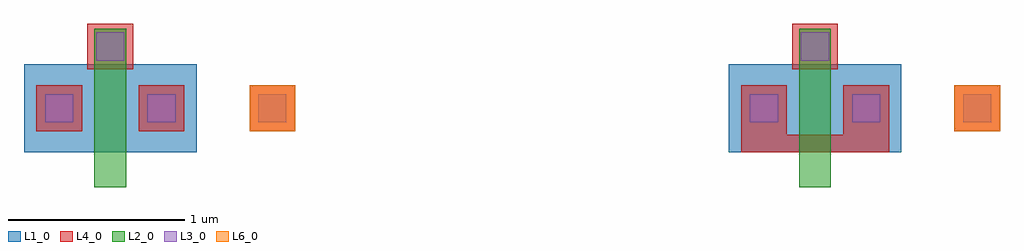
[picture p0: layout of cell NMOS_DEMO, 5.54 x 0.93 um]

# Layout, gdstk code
import gdstk
lib = gdstk.Library(unit=1e-6, precision=1e-09)
def R(c, l, rs):  # rectangles x0, y0, x1, y1
    for r in rs: c.add(gdstk.rectangle(r[:2], r[2:], *l))
L1_0 = (1, 0)
L2_0 = (2, 0)
L3_0 = (3, 0)
L4_0 = (4, 0)
L6_0 = (6, 0)

nmos_good = lib.new_cell('NMOS_GOOD')
R(nmos_good, L1_0, [(0,0,0.98,0.5)])
R(nmos_good, L2_0, [(0.4,-0.2,0.58,0.7)])
R(nmos_good, L3_0, [(0.12,0.17,0.28,0.33), (0.7,0.17,0.86,0.33), (1.33,0.17,1.49,0.33), (0.41,0.52,0.57,0.68)])
R(nmos_good, L4_0, [(0.07,0.12,0.33,0.38), (0.65,0.12,0.91,0.38), (1.28,0.12,1.54,0.38), (0.36,0.47,0.62,0.73)])
R(nmos_good, L6_0, [(1.28,0.12,1.54,0.38)])
nmos_good.add(gdstk.Label('S', (0.12,0.38), layer=4, texttype=1))
nmos_good.add(gdstk.Label('D', (0.7,0.38), layer=4, texttype=1))
nmos_good.add(gdstk.Label('G', (0.41,0.73), layer=4, texttype=1))
nmos_good.add(gdstk.Label('B', (1.33,0.38), layer=4, texttype=1))

nmos_bad = lib.new_cell('NMOS_BAD')
R(nmos_bad, L1_0, [(0,0,0.98,0.5)])
R(nmos_bad, L2_0, [(0.4,-0.2,0.58,0.7)])
R(nmos_bad, L3_0, [(0.12,0.17,0.28,0.33), (0.7,0.17,0.86,0.33), (1.33,0.17,1.49,0.33), (0.41,0.52,0.57,0.68)])
R(nmos_bad, L4_0, [(0.07,0,0.91,0.1), (0.07,0,0.33,0.13), (0.65,0,0.91,0.13), (0.07,0.12,0.33,0.38), (0.65,0.12,0.91,0.38), (1.28,0.12,1.54,0.38), (0.36,0.47,0.62,0.73)])
R(nmos_bad, L6_0, [(1.28,0.12,1.54,0.38)])
nmos_bad.add(gdstk.Label('S', (0.12,0.38), layer=4, texttype=1))
nmos_bad.add(gdstk.Label('D', (0.7,0.38), layer=4, texttype=1))
nmos_bad.add(gdstk.Label('G', (0.41,0.73), layer=4, texttype=1))
nmos_bad.add(gdstk.Label('B', (1.33,0.38), layer=4, texttype=1))
nmos_bad.add(gdstk.Label('SHORT', (0.364,-0.14), layer=4, texttype=1))

nmos_demo = lib.new_cell('NMOS_DEMO')
nmos_demo.add(gdstk.Reference(nmos_good, (0,0)))
nmos_demo.add(gdstk.Reference(nmos_bad, (4,0)))
nmos_demo.add(gdstk.Label('GOOD', (0,1.2), layer=4, texttype=1))
nmos_demo.add(gdstk.Label('BAD (S-D short)', (4,1.2), layer=4, texttype=1))

lib.write_gds('NMOS_DEMO.gds')
